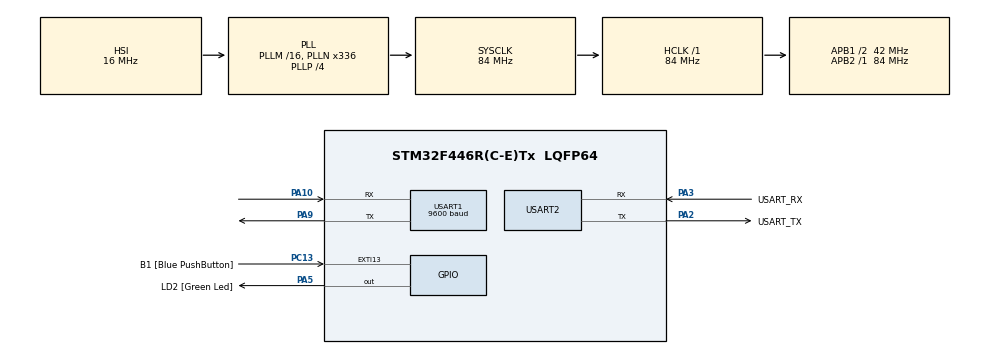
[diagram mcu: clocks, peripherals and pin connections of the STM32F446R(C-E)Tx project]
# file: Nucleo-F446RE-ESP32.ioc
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Dma.Request0=USART1_RX
Dma.Request1=USART2_RX
Dma.USART1_RX.0.Direction=DMA_PERIPH_TO_MEMORY
Dma.USART1_RX.0.FIFOMode=DMA_FIFOMODE_DISABLE
Dma.USART1_RX.0.Instance=DMA2_Stream2
Dma.USART1_RX.0.MemDataAlignment=DMA_MDATAALIGN_BYTE
Dma.USART1_RX.0.MemInc=DMA_MINC_ENABLE
Dma.USART1_RX.0.Mode=DMA_NORMAL
Dma.USART1_RX.0.PeriphDataAlignment=DMA_PDATAALIGN_BYTE
Dma.USART1_RX.0.PeriphInc=DMA_PINC_DISABLE
Dma.USART1_RX.0.Priority=DMA_PRIORITY_LOW
Dma.USART2_RX.1.Direction=DMA_PERIPH_TO_MEMORY
Dma.USART2_RX.1.FIFOMode=DMA_FIFOMODE_DISABLE
Dma.USART2_RX.1.Instance=DMA1_Stream5
Dma.USART2_RX.1.MemDataAlignment=DMA_MDATAALIGN_BYTE
Dma.USART2_RX.1.MemInc=DMA_MINC_ENABLE
Dma.USART2_RX.1.Mode=DMA_NORMAL
Dma.USART2_RX.1.PeriphDataAlignment=DMA_PDATAALIGN_BYTE
Dma.USART2_RX.1.PeriphInc=DMA_PINC_DISABLE
Dma.USART2_RX.1.Priority=DMA_PRIORITY_LOW
Mcu.Family=STM32F4
Mcu.Name=STM32F446R(C-E)Tx
Mcu.Package=LQFP64
NVIC.DMA1_Stream5_IRQn=true\:0\:0\:false\:false\:true\:false\:true\:true
NVIC.DMA2_Stream2_IRQn=true\:0\:0\:false\:false\:true\:false\:true\:true
NVIC.PriorityGroup=NVIC_PRIORITYGROUP_0
NVIC.USART1_IRQn=true\:0\:0\:false\:false\:true\:true\:true\:true
NVIC.USART2_IRQn=true\:0\:0\:false\:false\:true\:true\:true\:true
PA10.Mode=Asynchronous
PA10.Signal=USART1_RX
PA13.GPIO_Label=TMS
PA13.Mode=Serial_Wire
PA13.Signal=SYS_JTMS-SWDIO
PA14.GPIO_Label=TCK
PA14.Mode=Serial_Wire
PA14.Signal=SYS_JTCK-SWCLK
PA2.GPIO_Label=USART_TX
PA2.Mode=Asynchronous
PA2.Signal=USART2_TX
PA3.GPIO_Label=USART_RX
PA3.Mode=Asynchronous
PA3.Signal=USART2_RX
PA5.GPIO_Label=LD2 [Green Led]
PA5.Signal=GPIO_Output
PA9.Mode=Asynchronous
PA9.Signal=USART1_TX
PB3.GPIO_Label=SWO
PB3.Signal=SYS_JTDO-SWO
PC13.GPIO_Label=B1 [Blue PushButton]
PC13.GPIO_ModeDefaultEXTI=GPIO_MODE_IT_FALLING
PC13.Signal=GPXTI13
PC14-OSC32_IN.Signal=RCC_OSC32_IN
PC15-OSC32_OUT.Signal=RCC_OSC32_OUT
PH0-OSC_IN.Signal=RCC_OSC_IN
PH1-OSC_OUT.Signal=RCC_OSC_OUT
ProjectManager.HeapSize=0x200
ProjectManager.StackSize=0x400
ProjectManager.TargetToolchain=STM32CubeIDE
RCC.48MHZClocksFreq_Value=84000000
RCC.AHBFreq_Value=84000000
RCC.APB1CLKDivider=RCC_HCLK_DIV2
RCC.APB1Freq_Value=42000000
RCC.APB1TimFreq_Value=84000000
RCC.APB2Freq_Value=84000000
RCC.APB2TimFreq_Value=84000000
RCC.CortexFreq_Value=84000000
RCC.FLatency-AdvancedSettings=FLASH_LATENCY_2
RCC.HCLKFreq_Value=84000000
RCC.HSE_VALUE=8000000
RCC.HSI_VALUE=16000000
RCC.PLLN=336
RCC.PLLP=RCC_PLLP_DIV4
RCC.SYSCLKFreq_VALUE=84000000
RCC.SYSCLKSource=RCC_SYSCLKSOURCE_PLLCLK
RCC.USBFreq_Value=168000000
RCC.VCOOutputFreq_Value=336000000
USART1.BaudRate=9600
USART1.VirtualMode=VM_ASYNC
USART2.VirtualMode=VM_ASYNC
board=NUCLEO-F446RE

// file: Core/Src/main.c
/* USER CODE BEGIN Header */
/**
  ******************************************************************************
  * @file           : main.c
  * @brief          : Main program body
  ******************************************************************************
  * @attention
  *
  * Copyright (c) 2024 STMicroelectronics.
  * All rights reserved.
  *
  * This software is licensed under terms that can be found in the LICENSE file
  * in the root directory of this software component.
  * If no LICENSE file comes with this software, it is provided AS-IS.
  *
  ******************************************************************************
  */
/* USER CODE END Header */
#include "main.h"
#include "dma.h"
#include "usart.h"
#include "gpio.h"

/* USER CODE BEGIN Includes */
#include "noRTOS.h"
#include "hardwareGlobal.h"

#define uart_rx_buffer_size 512
static uint8_t uart2_rx_buffer[uart_rx_buffer_size];
static uint8_t uart1_rx_buffer[uart_rx_buffer_size];
static uint16_t buffer_haed = 0;
static uint16_t buffer_tail = 0;

/* USER CODE END Includes */

void SystemClock_Config(void);

/* USER CODE BEGIN 0 */
void noRTOS_setup(void) {
	UART_IR_READ_BYTE_IRQ( &uart1_rx_buffer[buffer_haed] );
	UART_TERMINAL_READ_LINE_IRQ( uart2_rx_buffer, uart_rx_buffer_size);
	printf("activate UART Read Byte\n");
}

void HAL_UART_RxCpltCallback(UART_HandleTypeDef *huart){

	if (huart->Instance == UART_TERMINAL_INSTANCE){

	}

	if (huart->Instance == UART_IR_INSTANCE){
		//printf("received 1 byte raw data: %02X head at %d \n", uart1_rx_buffer[buffer_haed], buffer_haed);
		char b[8];
		uint8_t s = 0;
		s = sprintf(b, "%02X ", uart1_rx_buffer[buffer_haed]);
		UART_SEND_TERMINAL((uint8_t*)b, s);

		if( 	   uart1_rx_buffer[buffer_haed] == 0x01
				&& uart1_rx_buffer[buffer_haed-1] == 0x01
				&& uart1_rx_buffer[buffer_haed-2] == 0x1B
				&& uart1_rx_buffer[buffer_haed-3] == 0x1B){
			printf("\t HIT \n");
		}

		buffer_haed++;
		buffer_haed = buffer_haed & 0x1FF;

		UART_IR_READ_BYTE_IRQ( &uart1_rx_buffer[buffer_haed] );
	}
}

void HAL_UARTEx_RxEventCallback(UART_HandleTypeDef *huart, uint16_t Size){

	if (huart->Instance == UART_TERMINAL_INSTANCE){
		printf("---- NEW LINE ---- \n");
		UART_TERMINAL_READ_LINE_IRQ(uart2_rx_buffer, uart_rx_buffer_size);
	}

	if (huart->Instance == UART_IR_INSTANCE){
		printf("received %d byte raw data\n", Size);
	}
}

/* USER CODE END 0 */

int main(void)
{

  /* MCU Configuration--------------------------------------------------------*/

  /* Reset of all peripherals, Initializes the Flash interface and the Systick. */
  HAL_Init();

  /* Configure the system clock */
  SystemClock_Config();

  /* Initialize all configured peripherals */
  MX_GPIO_Init();
  MX_DMA_Init();
  MX_USART2_UART_Init();
  MX_USART1_UART_Init();
  /* USER CODE BEGIN 2 */

  noRTOS_run_scheduler();
  /* USER CODE END 2 */

  /* Infinite loop */
  while (1)
  {

    /* USER CODE BEGIN 3 */
	  //printf("Hello from AT-Command Handler on ESP32\n");
	  DELAY(500);
  }
  /* USER CODE END 3 */
}

void SystemClock_Config(void)
{
  RCC_OscInitTypeDef RCC_OscInitStruct = {0};
  RCC_ClkInitTypeDef RCC_ClkInitStruct = {0};

  /** Configure the main internal regulator output voltage
  */
  __HAL_RCC_PWR_CLK_ENABLE();
  __HAL_PWR_VOLTAGESCALING_CONFIG(PWR_REGULATOR_VOLTAGE_SCALE3);

  /** Initializes the RCC Oscillators according to the specified parameters
  * in the RCC_OscInitTypeDef structure.
  */
  RCC_OscInitStruct.OscillatorType = RCC_OSCILLATORTYPE_HSI;
  RCC_OscInitStruct.HSIState = RCC_HSI_ON;
  RCC_OscInitStruct.HSICalibrationValue = RCC_HSICALIBRATION_DEFAULT;
  RCC_OscInitStruct.PLL.PLLState = RCC_PLL_ON;
  RCC_OscInitStruct.PLL.PLLSource = RCC_PLLSOURCE_HSI;
  RCC_OscInitStruct.PLL.PLLM = 16;
  RCC_OscInitStruct.PLL.PLLN = 336;
  RCC_OscInitStruct.PLL.PLLP = RCC_PLLP_DIV4;
  RCC_OscInitStruct.PLL.PLLQ = 2;
  RCC_OscInitStruct.PLL.PLLR = 2;
  if (HAL_RCC_OscConfig(&RCC_OscInitStruct) != HAL_OK)
  {
    Error_Handler();
  }

  /** Initializes the CPU, AHB and APB buses clocks
  */
  RCC_ClkInitStruct.ClockType = RCC_CLOCKTYPE_HCLK|RCC_CLOCKTYPE_SYSCLK
                              |RCC_CLOCKTYPE_PCLK1|RCC_CLOCKTYPE_PCLK2;
  RCC_ClkInitStruct.SYSCLKSource = RCC_SYSCLKSOURCE_PLLCLK;
  RCC_ClkInitStruct.AHBCLKDivider = RCC_SYSCLK_DIV1;
  RCC_ClkInitStruct.APB1CLKDivider = RCC_HCLK_DIV2;
  RCC_ClkInitStruct.APB2CLKDivider = RCC_HCLK_DIV1;

  if (HAL_RCC_ClockConfig(&RCC_ClkInitStruct, FLASH_LATENCY_2) != HAL_OK)
  {
    Error_Handler();
  }
}

void Error_Handler(void)
{
  __disable_irq();
  while (1)
  {
  }
}
